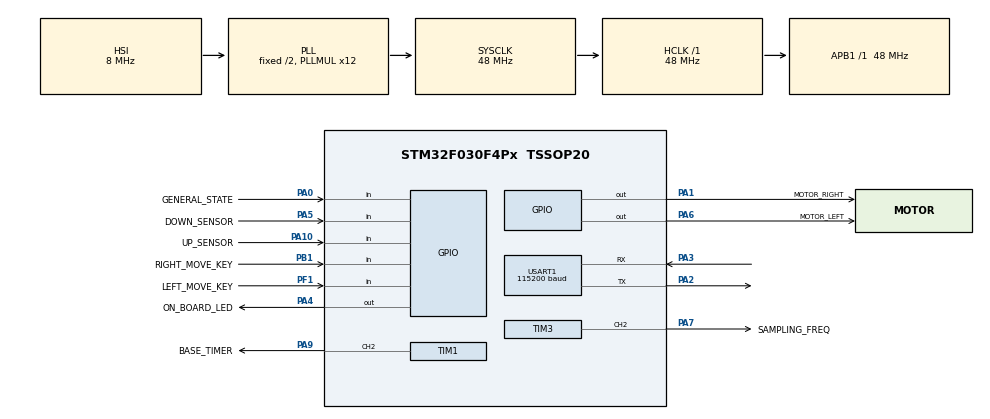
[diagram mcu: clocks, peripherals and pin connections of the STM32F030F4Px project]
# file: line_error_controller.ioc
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Mcu.Family=STM32F0
Mcu.Name=STM32F030F4Px
Mcu.Package=TSSOP20
NVIC.TIM1_BRK_UP_TRG_COM_IRQn=true\:0\:0\:false\:false\:true\:true\:true\:true
NVIC.TIM3_IRQn=true\:0\:0\:false\:false\:true\:true\:true\:true
PA0.GPIO_Label=GENERAL_STATE
PA0.GPIO_PuPd=GPIO_PULLDOWN
PA0.Signal=GPIO_Input
PA1.GPIO_Label=MOTOR_RIGHT
PA1.GPIO_PuPd=GPIO_PULLDOWN
PA1.Signal=GPIO_Output
PA10.GPIO_Label=UP_SENSOR
PA10.GPIO_PuPd=GPIO_PULLDOWN
PA10.Signal=GPIO_Input
PA2.Mode=Asynchronous
PA2.Signal=USART1_TX
PA3.Mode=Asynchronous
PA3.Signal=USART1_RX
PA4.GPIO_Label=ON_BOARD_LED
PA4.GPIO_PuPd=GPIO_PULLDOWN
PA4.Signal=GPIO_Output
PA5.GPIO_Label=DOWN_SENSOR
PA5.GPIO_PuPd=GPIO_PULLDOWN
PA5.Signal=GPIO_Input
PA6.GPIO_Label=MOTOR_LEFT
PA6.GPIO_PuPd=GPIO_PULLDOWN
PA6.Signal=GPIO_Output
PA7.GPIO_Label=SAMPLING_FREQ
PA7.Signal=S_TIM3_CH2
PA9.GPIO_Label=BASE_TIMER
PA9.Signal=S_TIM1_CH2
PB1.GPIO_Label=RIGHT_MOVE_KEY
PB1.GPIO_PuPd=GPIO_PULLDOWN
PB1.Signal=GPIO_Input
PF1-OSC_OUT.GPIO_Label=LEFT_MOVE_KEY
PF1-OSC_OUT.GPIO_PuPd=GPIO_PULLDOWN
PF1-OSC_OUT.Signal=GPIO_Input
ProjectManager.HeapSize=0x200
ProjectManager.StackSize=0x400
ProjectManager.TargetToolchain=STM32CubeIDE
RCC.AHBFreq_Value=48000000
RCC.APB1Freq_Value=48000000
RCC.APB1TimFreq_Value=48000000
RCC.HCLKFreq_Value=48000000
RCC.PLLMUL=RCC_PLL_MUL12
RCC.SYSCLKFreq_VALUE=48000000
RCC.SYSCLKSource=RCC_SYSCLKSOURCE_PLLCLK
SH.S_TIM1_CH2.0=TIM1_CH2,Output Compare2 CH2
SH.S_TIM3_CH2.0=TIM3_CH2,Output Compare2 CH2
TIM1.Channel-Output\ Compare2\ CH2=TIM_CHANNEL_2
TIM1.OCMode_2=TIM_OCMODE_TOGGLE
TIM1.Period=1000-1
TIM1.Prescaler=48000-1
TIM1.Pulse-Output\ Compare2\ CH2=1000-1
TIM1.TIM_MasterOutputTrigger=TIM_TRGO_RESET
TIM3.Channel-Output\ Compare2\ CH2=TIM_CHANNEL_2
TIM3.OCMode_2=TIM_OCMODE_TOGGLE
TIM3.Period=49
TIM3.Prescaler=48-1
TIM3.Pulse-Output\ Compare2\ CH2=49
USART1.BaudRate=115200
USART1.VirtualMode-Asynchronous=VM_ASYNC
VP_TIM1_VS_ClockSourceINT.Mode=Internal
VP_TIM3_VS_ClockSourceINT.Mode=Internal
board=custom

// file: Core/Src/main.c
/* USER CODE BEGIN Header */
/**
  ******************************************************************************
  * @file           : main.c
  * @brief          : Main program body
  ******************************************************************************
  * @attention
  *
  * Copyright (c) 2024 STMicroelectronics.
  * All rights reserved.
  *
  * This software is licensed under terms that can be found in the LICENSE file
  * in the root directory of this software component.
  * If no LICENSE file comes with this software, it is provided AS-IS.
  *
  ******************************************************************************
  */
/* USER CODE END Header */
#include "main.h"

/* USER CODE BEGIN Includes */
#include <stdlib.h>
#include <string.h>
#include <stdbool.h>
/* USER CODE END Includes */

/* USER CODE BEGIN PTD */

#define SAMPLING_ARRAY_LENGTH 2
#define MEAN_ARRAY_LENGTH 4
#define NO_SIGNAL_WATCH_TIME 40000 // 50 us sampling timer * SAMPLING_ARRAY_LENGTH = 10 sample per each ms, 4 s wait time = 40000
#define DEBOUNCE 200
#define ACCEPTABLE_ERROR_PERCENTAGE 50
#define COMAN_LENGHT_MIN 5000
#define COMAND_WAITING 5000

typedef enum {
    ERROR_NONE = 0,
    ERROR_UP_SENSOR,
    ERROR_DOWN_SENSOR,
} ErrorCode_t;

typedef struct {
    uint32_t error;
    bool sign; //down up difference is the smaller value
} Error;

void ErrorHandler(ErrorCode_t error);
/* USER CODE END PTD */

/* USER CODE BEGIN PD */

bool timer_1_flag = false;
bool timer_3_flag = false;

bool auto_flag = false;

ErrorCode_t error = ERROR_NONE;

bool down_preiod_posetive_flag = false;
bool up_preiod_posetive_flag = false;

bool left_key_length_posetive_flag = false;
bool right_key_length_posetive_flag = false;

bool down_lenght_posetive_flag = false;
bool up_lenght_posetive_flag = false;

bool ud_down_posetive_flag = false;
bool ud_up_posetive_flag = false;
bool du_down_posetive_flag = false;
bool du_up_posetive_flag = false;

bool left_move_key_effect_a_flag = false;
bool right_move_key_effect_a_flag = false;

bool control_command = false;
bool control_command_start = false;
bool control_command_countinue = false;
bool command_sign = false;
uint32_t command_lenght_right = 0;
uint32_t command_lenght_left = 0;
uint32_t command_lenght = 0;
uint32_t command_counter = 0;
uint32_t command_waiting_counter = 0;

uint8_t general_state_samples[SAMPLING_ARRAY_LENGTH] = {0};
uint8_t down_sensor_samples[SAMPLING_ARRAY_LENGTH] = {0};
uint8_t up_sensor_samples[SAMPLING_ARRAY_LENGTH] = {0};
uint8_t left_move_key_samples[SAMPLING_ARRAY_LENGTH] = {0};
uint8_t right_move_key_samples[SAMPLING_ARRAY_LENGTH] = {0};

uint8_t sampleIndex = 0;
uint8_t left_move_key_effect_a_counter = 0;
uint8_t right_move_key_effect_a_counter = 0;

uint32_t down_sensor_lenght_values[MEAN_ARRAY_LENGTH] = {0};
uint32_t up_sensor_lenght_values[MEAN_ARRAY_LENGTH] = {0};
uint32_t left_move_key_length_values[MEAN_ARRAY_LENGTH] = {0};
uint32_t right_move_key_length_values[MEAN_ARRAY_LENGTH] = {0};
uint32_t down_up_diff_values[MEAN_ARRAY_LENGTH] = {0};
uint32_t up_down_diff_values[MEAN_ARRAY_LENGTH] = {0};
uint32_t down_period_values[MEAN_ARRAY_LENGTH] = {0};
uint32_t up_period_values[MEAN_ARRAY_LENGTH] = {0};

uint32_t left_move_key_effect_error_a_values[MEAN_ARRAY_LENGTH] = {0};
uint32_t left_move_key_effect_error_b_values[MEAN_ARRAY_LENGTH] = {0};

uint32_t right_move_key_effect_error_a_values[MEAN_ARRAY_LENGTH] = {0};
uint32_t right_move_key_effect_error_b_values[MEAN_ARRAY_LENGTH] = {0};

uint8_t valueIndex = 0;

uint32_t down_sensor_lenght = 0;
uint32_t up_sensor_lenght = 0;

uint32_t left_key_lenght = 0;
uint32_t right_key_lenght = 0;

uint32_t down_sensor_period = 0;
uint32_t up_sensor_period = 0;

uint32_t down_up_diff = 0;
uint32_t up_down_diff = 0;

uint32_t up_length_watch_time = 0;
uint32_t down_length_watch_time = 0;

uint32_t left_move_key_debounce = 0;
uint32_t right_move_key_debounce = 0;
uint32_t general_state_debounce = 0;

Error left_key_error_b;
Error right_key_error_b;

Error manual_max_error;

uint32_t manual_priod = 0;
uint32_t manual_right_key_lenght = 0;
uint32_t manual_left_key_lenght = 0;
uint32_t manual_right_key_a = 0;
uint32_t manual_left_key_a = 0;

/* USER CODE END PD */

TIM_HandleTypeDef htim1;
TIM_HandleTypeDef htim3;

UART_HandleTypeDef huart1;

void SystemClock_Config(void);
static void MX_GPIO_Init(void);
static void MX_USART1_UART_Init(void);
static void MX_TIM1_Init(void);
static void MX_TIM3_Init(void);
/* USER CODE BEGIN PFP */
Error calculate_error(uint32_t *values_1, uint32_t *values_2);
Error calculate_error_partialy(uint32_t *values_1, uint32_t *values_2, uint8_t counter);
uint32_t check_b_a_error(Error error_a, Error error_b);
/* USER CODE END PFP */

/* USER CODE BEGIN 0 */
void HAL_TIM_PeriodElapsedCallback(TIM_HandleTypeDef *htim)
{

    if (htim->Instance == TIM1)
    {
    	timer_1_flag = true;

    }
    if (htim->Instance == TIM3)
    {
    	timer_3_flag = true;
    }

}

void transfer_data(void)
{
	HAL_GPIO_TogglePin(ON_BOARD_LED_GPIO_Port, ON_BOARD_LED_Pin);

	char buffer[150];
	memset(buffer, 0, sizeof(buffer));
	char num_str1[10], num_str2[10], num_str3[10], num_str4[10], num_str5[10], num_str6[10];

	itoa(auto_flag, num_str1, 10);  // Convert num1 to string
	itoa(up_period_values[MEAN_ARRAY_LENGTH -1], num_str2, 10);  // Convert num2 to string
	itoa(down_period_values[MEAN_ARRAY_LENGTH -1], num_str3, 10);
	itoa(up_down_diff_values[MEAN_ARRAY_LENGTH -1], num_str4,  10);
	itoa(down_up_diff_values[MEAN_ARRAY_LENGTH -1], num_str5, 10);
	itoa(error, num_str6, 10);

	strcpy(buffer, "SF: ");
	strcat(buffer, num_str1);
	strcat(buffer, ", UP: ");
	strcat(buffer, num_str2);
	strcat(buffer, ", DP: ");
	strcat(buffer, num_str3);
	strcat(buffer, "\r\n");

	strcat(buffer, "UPD: ");
	strcat(buffer, num_str4);
	strcat(buffer, ", DUP: ");
	strcat(buffer, num_str5);
	strcat(buffer, "\r\n");
	strcat(buffer, "E: ");
	strcat(buffer, num_str6);
	strcat(buffer, "\r\n");
	strcat(buffer, "\r\n");
	HAL_UART_Transmit(&huart1, (uint8_t *)buffer, strlen(buffer), HAL_MAX_DELAY);
	timer_1_flag = false;
}

void sampling_data(void)
{
	general_state_samples[sampleIndex] = HAL_GPIO_ReadPin(GENERAL_STATE_GPIO_Port, GENERAL_STATE_Pin);
	down_sensor_samples[sampleIndex] = HAL_GPIO_ReadPin(DOWN_SENSOR_GPIO_Port, DOWN_SENSOR_Pin);
	up_sensor_samples[sampleIndex] = HAL_GPIO_ReadPin(UP_SENSOR_GPIO_Port, UP_SENSOR_Pin);
	left_move_key_samples[sampleIndex]= HAL_GPIO_ReadPin(LEFT_MOVE_KEY_GPIO_Port, LEFT_MOVE_KEY_Pin);
	right_move_key_samples[sampleIndex]= HAL_GPIO_ReadPin(RIGHT_MOVE_KEY_GPIO_Port, RIGHT_MOVE_KEY_Pin);
	sampleIndex++;

	if (sampleIndex >= SAMPLING_ARRAY_LENGTH)
		{
			uint8_t general_state_one_counts = check_value_counts(general_state_samples, 1);
			uint8_t down_sensor_one_counts = check_value_counts(down_sensor_samples, 1);
			uint8_t up_sensor_one_counts = check_value_counts(up_sensor_samples, 1);
			uint8_t left_key_one_counts = check_value_counts(left_move_key_samples, 1);
			uint8_t right_key_one_counts = check_value_counts(right_move_key_samples, 1);

			check_general_state(general_state_one_counts);
			check_signal_length_down(down_sensor_one_counts, &down_sensor_lenght);
			check_signal_length_up(up_sensor_one_counts, &up_sensor_lenght);

			if (auto_flag == false)
			{
				check_signal_length_left_key(left_key_one_counts, &left_key_lenght);
				check_signal_length_right_key(right_key_one_counts, &right_key_lenght);

				if (left_move_key_effect_a_flag)
					{
						left_move_key_effect_a_counter++;
						if (left_move_key_effect_a_counter >= MEAN_ARRAY_LENGTH)
						{
							left_move_key_effect_a_flag = false;
							Error error = calculate_error(down_up_diff_values, up_down_diff_values);
							uint32_t b_a_error = check_b_a_error(error, left_key_error_b);
							shift_and_insert_values(left_move_key_effect_error_a_values ,b_a_error);
							left_move_key_effect_a_counter = 0;
						}
					}

				if (right_move_key_effect_a_flag)
					{
						right_move_key_effect_a_counter++;
						if (right_move_key_effect_a_counter >= MEAN_ARRAY_LENGTH)
						{
							right_move_key_effect_a_flag = false;
							Error error = calculate_error(down_up_diff_values, up_down_diff_values);
							uint32_t b_a_error = check_b_a_error(error, right_key_error_b);
							shift_and_insert_values(right_move_key_effect_error_a_values ,b_a_error);
							right_move_key_effect_a_counter = 0;
						}
					}
			}

			check_down_periods(down_sensor_one_counts, &down_sensor_period);
			check_up_periods(up_sensor_one_counts, &up_sensor_period);

			check_down_up_diff(down_sensor_one_counts, up_sensor_one_counts, &down_up_diff);
			check_up_down_diff(down_sensor_one_counts, up_sensor_one_counts, &up_down_diff);

			if (auto_flag)
			{
				if ((control_command_countinue) && (control_command)) command_counter++;
				if ((control_command) && (control_command_start == false) && (control_command_countinue == false)) command_waiting_counter++;
			}

			sampleIndex = 0;

	}
		timer_3_flag = false;

}

void check_down_up_diff(uint8_t down_counts, uint8_t up_counts, uint32_t *diff)
{
	if (down_counts > (SAMPLING_ARRAY_LENGTH / 2))
	{
		if(du_down_posetive_flag == false)
		{
			*diff = 0;
			du_down_posetive_flag = true;
		}

	}
	else
	{
		du_down_posetive_flag = false;
	}
	if (up_counts > (SAMPLING_ARRAY_LENGTH / 2))
	{
		if (du_up_posetive_flag == false)
		{
			shift_and_insert_values(down_up_diff_values ,*diff);
			du_up_posetive_flag = true;
		}

	}
	else
	{
		du_up_posetive_flag = false;
	}

	*diff = *diff + 1;

}

void check_up_down_diff(uint8_t down_counts, uint8_t up_counts, uint32_t *diff)
{
	if (up_counts > (SAMPLING_ARRAY_LENGTH / 2))
	{
		if(ud_up_posetive_flag == false)
		{
			*diff = 0;
			ud_up_posetive_flag = true;
		}

	}
	else
	{
		ud_up_posetive_flag = false;
	}
	if (down_counts > (SAMPLING_ARRAY_LENGTH / 2))
	{
		if (ud_down_posetive_flag == false)
		{
			shift_and_insert_values(up_down_diff_values ,*diff);
			ud_down_posetive_flag = true;
		}

	}
	else
	{
		ud_down_posetive_flag = false;
	}

	*diff = *diff + 1;

}

void check_down_periods(uint8_t counts, uint32_t *period)
{
	if (counts > (SAMPLING_ARRAY_LENGTH / 2))
	{
		if(down_preiod_posetive_flag == false)
		{
			// save period
			shift_and_insert_values(down_period_values ,*period);
			*period = 0;
			down_preiod_posetive_flag = true;
		}

	}
	else
	{
		if (down_preiod_posetive_flag)
		{
			down_preiod_posetive_flag = false;
		}

	}

	*period = *period + 1;

}

void check_up_periods(uint8_t counts, uint32_t *period)
{
	if (counts > (SAMPLING_ARRAY_LENGTH / 2))
	{
		if(up_preiod_posetive_flag == false)
		{
			// save period
			shift_and_insert_values(up_period_values ,*period);
			*period = 0;
			up_preiod_posetive_flag = true;
		}

	}
	else
	{
		if (up_preiod_posetive_flag)
		{
			up_preiod_posetive_flag = false;
		}

	}

	*period = *period + 1;

}

void shift_and_insert_values(uint32_t *values, uint32_t new_value) {

    for (int i = 0; i < MEAN_ARRAY_LENGTH - 1; i++) {
    	values[i] = values[i + 1];
    }

    values[MEAN_ARRAY_LENGTH - 1] = new_value;
}

void check_signal_length_up(uint8_t counts, uint32_t *length)
{
	if (counts > (SAMPLING_ARRAY_LENGTH / 2))
	{
		*length = *length + 1;
		if (up_lenght_posetive_flag == false)
		{
			if (error == ERROR_UP_SENSOR) error = ERROR_NONE;
			up_lenght_posetive_flag = true;
			up_length_watch_time = 0;
		}
	}
	else
	{
		if (up_lenght_posetive_flag)
		{
			shift_and_insert_values(up_sensor_lenght_values ,*length);
			*length = 0;
			up_lenght_posetive_flag = false;
		}
		else
		{
			up_length_watch_time++;
			if (up_length_watch_time >= NO_SIGNAL_WATCH_TIME)
			{
				shift_and_insert_values(up_sensor_lenght_values ,0);
				up_length_watch_time = 0;
				error = ERROR_UP_SENSOR;
			}

		}
	}

}

void check_signal_length_down(uint8_t counts, uint32_t *length)
{
	if (counts > (SAMPLING_ARRAY_LENGTH / 2))
	{
		*length = *length + 1;
		if (down_lenght_posetive_flag == false)
		{
			if (error == ERROR_DOWN_SENSOR) error = ERROR_NONE;
			down_lenght_posetive_flag = true;
			down_length_watch_time = 0;
		}
	}
	else
	{
		if (down_lenght_posetive_flag)
		{
			shift_and_insert_values(down_sensor_lenght_values ,*length);
			*length = 0;
			down_lenght_posetive_flag = false;
		}
		else
		{
			down_length_watch_time++;
			if (down_length_watch_time >= NO_SIGNAL_WATCH_TIME)
			{
				shift_and_insert_values(down_sensor_lenght_values ,0);
				error = ERROR_DOWN_SENSOR;
				down_length_watch_time = 0;
			}
		}
	}

}

void check_signal_length_left_key(uint8_t counts, uint32_t *length)
{

	if ((counts > (SAMPLING_ARRAY_LENGTH / 2)) && (left_move_key_debounce >= DEBOUNCE))
	{
		*length = *length + 1;
		if (left_key_length_posetive_flag == false)
		{
			left_key_error_b = calculate_error(down_up_diff_values, up_down_diff_values);
			shift_and_insert_values(left_move_key_effect_error_b_values ,left_key_error_b.error);
			left_key_length_posetive_flag = true;
			if ((left_move_key_effect_a_flag) && (left_move_key_effect_a_counter < MEAN_ARRAY_LENGTH))
			{
				Error error = calculate_error_partialy(down_up_diff_values, up_down_diff_values, left_move_key_effect_a_counter);
				uint32_t b_a_error = check_b_a_error(error, left_key_error_b);
				shift_and_insert_values(left_move_key_effect_error_a_values ,b_a_error);
			}
			left_move_key_effect_a_flag = false;
			left_move_key_effect_a_counter = 0;
			left_move_key_debounce = 0;
		}
	}
	else
	{
		if ((left_key_length_posetive_flag) && (*length > DEBOUNCE))
		{
			shift_and_insert_values(left_move_key_length_values ,*length);
			*length = 0;
			left_key_length_posetive_flag = false;
			left_move_key_effect_a_flag = true;
		}
		left_move_key_debounce++;
		if (left_move_key_debounce > 2*DEBOUNCE) left_move_key_debounce = 2*DEBOUNCE;
	}

}

void check_signal_length_right_key(uint8_t counts, uint32_t *length)
{
	if (counts > (SAMPLING_ARRAY_LENGTH / 2))
	{
		*length = *length + 1;
		if ((right_key_length_posetive_flag == false) && (right_move_key_debounce >= DEBOUNCE))
		{
			right_key_error_b = calculate_error(down_up_diff_values, up_down_diff_values);
			shift_and_insert_values(right_move_key_effect_error_b_values ,right_key_error_b.error);
			right_key_length_posetive_flag = true;
			if ((right_move_key_effect_a_flag) && (right_move_key_effect_a_counter < MEAN_ARRAY_LENGTH))
			{
				Error error = calculate_error_partialy(down_up_diff_values, up_down_diff_values, right_move_key_effect_a_counter);
				uint32_t b_a_error = check_b_a_error(error, right_key_error_b);
				shift_and_insert_values(right_move_key_effect_error_a_values ,b_a_error);
			}
			right_move_key_effect_a_flag = false;
			right_move_key_effect_a_counter = 0;
			right_move_key_debounce = 0;
		}
	}
	else
	{
		if ((right_key_length_posetive_flag) && (*length > DEBOUNCE))
		{
			shift_and_insert_values(right_move_key_length_values ,*length);
			*length = 0;
			right_key_length_posetive_flag = false;
			right_move_key_effect_a_flag = true;
		}
		right_move_key_debounce++;
		if (right_move_key_debounce > 2*DEBOUNCE) right_move_key_debounce = 2*DEBOUNCE;
	}

}

uint8_t check_value_counts(uint8_t *samples, uint8_t value)
{
	uint8_t counts = 0;
	for (uint8_t i = 0; i< SAMPLING_ARRAY_LENGTH; i++)
	{
		if (samples[i] == value)
		{
			counts++;
		}
	}
	return counts;
}

Error calculate_error(uint32_t *values_1, uint32_t *values_2)
{
	Error error;
	uint32_t value_1_mean = calculate_mean(values_1);
	uint32_t value_2_mean = calculate_mean(values_2);

	if (value_1_mean < value_2_mean)
		{
			error.error = value_1_mean;
			error.sign = true; // down up difference is the smaller value
		}
	else
		{
			error.error = value_2_mean;
			error.sign = false;
		}
	return error;
}

uint32_t calculate_mean(uint32_t *values)
{
    uint32_t sum = 0;
    uint8_t num = 0;
    for (uint8_t i = 0; i < MEAN_ARRAY_LENGTH; i++) {
        if (values[i] > 0)
        {
        	sum += values[i];
        	num +=1;
        }
    }
    if (num > 0)
    {
    	return sum / num;
    }
    else
    {
    	return 0;
    }

}

Error calculate_error_partialy(uint32_t *values_1, uint32_t *values_2, uint8_t counter)
{
	Error error;
	uint32_t value_1_mean = calculate_mean_partialy(values_1, counter);
	uint32_t value_2_mean = calculate_mean_partialy(values_2, counter);

	if (value_1_mean < value_2_mean)
		{
			error.error = value_1_mean;
			error.sign = true;
		}
	else
		{
			error.error = value_2_mean;
			error.sign = false;
		}
	return error;
}

uint32_t calculate_mean_partialy(uint32_t *values, uint8_t counter)
{
    uint32_t sum = 0;
    uint8_t num = 0;
    for (uint8_t i = MEAN_ARRAY_LENGTH -1; i >= (MEAN_ARRAY_LENGTH - counter); i--) {
        if (values[i] > 0)
        {
        	sum += values[i];
        	num +=1;
        }
    }

    if (num > 0)
    {
    	return sum / num;
    }
    else
    {
    	return 0;
    }

}

uint32_t check_b_a_error(Error error_a, Error error_b)
{
	if (error_b.sign)
	{
		if (error_a.sign)
		{
			if (error_a.error > error_b.error) return error_a.error - error_b.error;
			else return error_b.error - error_a.error;
		}
		else return error_b.error + error_a.error;

	}
	else
	{
			if (error_a.sign) return error_b.error + error_a.error;
			else
			{
				if (error_a.error > error_b.error) return error_a.error - error_b.error;
				else return error_b.error - error_a.error;

			}

	}

}

void check_general_state(uint8_t counts)
{
	if (counts > (SAMPLING_ARRAY_LENGTH / 2))
	{
		if ((auto_flag == false) && (general_state_debounce > DEBOUNCE))
		{
			auto_flag = true;
			manual_max_error = calculate_error(down_up_diff_values, up_down_diff_values);
			manual_priod = calculate_mean(down_period_values);
			manual_right_key_lenght = calculate_mean(right_move_key_length_values);
			manual_left_key_lenght = calculate_mean(left_move_key_length_values);
			manual_right_key_a = calculate_mean(right_move_key_effect_error_a_values);
			manual_left_key_a = calculate_mean(left_move_key_effect_error_a_values);
			general_state_debounce = 0;

		}
		general_state_debounce++;
		if (general_state_debounce > 2*DEBOUNCE) general_state_debounce = 2*DEBOUNCE;
	}
	else
	{
		if((auto_flag) && (general_state_debounce > DEBOUNCE))
		{
			general_state_debounce = 0;
			auto_flag = false;
			memset(right_move_key_length_values, 0, sizeof(right_move_key_length_values));
			memset(left_move_key_length_values, 0, sizeof(left_move_key_length_values));
			memset(right_move_key_effect_error_a_values, 0, sizeof(right_move_key_effect_error_a_values));
			memset(left_move_key_effect_error_a_values, 0, sizeof(left_move_key_effect_error_a_values));
		}
		general_state_debounce++;
		if (general_state_debounce > 2*DEBOUNCE) general_state_debounce = 2*DEBOUNCE;
	}

}

void motor_control(void)
{
	if (control_command)
	{
		if(control_command_start)
		{
			// calculate the length of the command signal
			if (command_sign)
			{
				HAL_GPIO_WritePin(MOTOR_RIGHT_GPIO_Port, MOTOR_RIGHT_Pin, GPIO_PIN_SET);
				HAL_GPIO_WritePin(MOTOR_LEFT_GPIO_Port, MOTOR_LEFT_Pin, GPIO_PIN_RESET);
				if (command_lenght_right > COMAN_LENGHT_MIN) command_lenght = command_lenght_right;
				else command_lenght = COMAN_LENGHT_MIN;
			}
			else
			{
				HAL_GPIO_WritePin(MOTOR_LEFT_GPIO_Port, MOTOR_LEFT_Pin, GPIO_PIN_SET);
				HAL_GPIO_WritePin(MOTOR_RIGHT_GPIO_Port, MOTOR_RIGHT_Pin, GPIO_PIN_RESET);
				if (command_lenght_left > COMAN_LENGHT_MIN) command_lenght = command_lenght_left;
				else command_lenght = COMAN_LENGHT_MIN;
			}
			control_command_countinue = true;
			control_command_start = false;
			command_counter = 0;
		}
		else if (control_command_countinue)
		{
			if (command_counter >= command_lenght)
			{
				HAL_GPIO_WritePin(MOTOR_LEFT_GPIO_Port, MOTOR_LEFT_Pin, GPIO_PIN_RESET);
				HAL_GPIO_WritePin(MOTOR_RIGHT_GPIO_Port, MOTOR_RIGHT_Pin, GPIO_PIN_RESET);
				control_command_countinue = false;
				command_waiting_counter = 0;
			}

		}
		else
		{
			if (command_waiting_counter >= COMAND_WAITING) control_command = false;
		}

	}
	else
	{
		Error error = calculate_error(down_up_diff_values, up_down_diff_values);
		uint32_t period = calculate_mean(down_period_values);

		if ((period != 0)&&(manual_priod != 0))
		{
			float acceptable_error = ((float)manual_max_error.error / manual_priod)* ((float)ACCEPTABLE_ERROR_PERCENTAGE / 100)  * period;

			if (error.error > acceptable_error)
			{

				float command_lenght_l = (float)(error.error * manual_left_key_lenght) / manual_left_key_a;
				float command_lenght_r = (float)(error.error * manual_right_key_lenght) / manual_right_key_a;

				command_lenght_left = (int)(command_lenght_l * period / manual_priod + 0.5);
				command_lenght_right = (int)(command_lenght_r * period /manual_priod + 0.5);

				command_sign = error.sign;
				control_command = true;
				control_command_start = true;
			}
		}

	}

}

/* USER CODE END 0 */

int main(void)
{

  /* MCU Configuration--------------------------------------------------------*/

  /* Reset of all peripherals, Initializes the Flash interface and the Systick. */
  HAL_Init();

  /* Configure the system clock */
  SystemClock_Config();

  /* Initialize all configured peripherals */
  MX_GPIO_Init();
  MX_USART1_UART_Init();
  MX_TIM1_Init();
  MX_TIM3_Init();
  /* USER CODE BEGIN 2 */
  HAL_GPIO_WritePin(ON_BOARD_LED_GPIO_Port, ON_BOARD_LED_Pin, GPIO_PIN_SET);
  HAL_TIM_Base_Start_IT(&htim1);
  HAL_TIM_Base_Start_IT(&htim3);
  HAL_TIM_OC_Start(&htim1, TIM_CHANNEL_2);
  HAL_TIM_OC_Start(&htim3, TIM_CHANNEL_2);
  /* USER CODE END 2 */

  /* Infinite loop */
  while (1)
  {

    /* USER CODE BEGIN 3 */
	if (timer_1_flag)
	{
		transfer_data();
	}

	if (timer_3_flag)
	{
        sampling_data();
    }

	if ((auto_flag) && (error == ERROR_NONE))
	{
		motor_control();
	}
	else
	{
		HAL_GPIO_WritePin(MOTOR_RIGHT_GPIO_Port, MOTOR_RIGHT_Pin, GPIO_PIN_RESET);
		HAL_GPIO_WritePin(MOTOR_LEFT_GPIO_Port, MOTOR_LEFT_Pin, GPIO_PIN_RESET);
	}
  }
  /* USER CODE END 3 */
}

void SystemClock_Config(void)
{
  RCC_OscInitTypeDef RCC_OscInitStruct = {0};
  RCC_ClkInitTypeDef RCC_ClkInitStruct = {0};
  RCC_PeriphCLKInitTypeDef PeriphClkInit = {0};

  /** Initializes the RCC Oscillators according to the specified parameters
  * in the RCC_OscInitTypeDef structure.
  */
  RCC_OscInitStruct.OscillatorType = RCC_OSCILLATORTYPE_HSI;
  RCC_OscInitStruct.HSIState = RCC_HSI_ON;
  RCC_OscInitStruct.HSICalibrationValue = RCC_HSICALIBRATION_DEFAULT;
  RCC_OscInitStruct.PLL.PLLState = RCC_PLL_ON;
  RCC_OscInitStruct.PLL.PLLSource = RCC_PLLSOURCE_HSI;
  RCC_OscInitStruct.PLL.PLLMUL = RCC_PLL_MUL12;
  RCC_OscInitStruct.PLL.PREDIV = RCC_PREDIV_DIV1;
  if (HAL_RCC_OscConfig(&RCC_OscInitStruct) != HAL_OK)
  {
    Error_Handler();
  }

  /** Initializes the CPU, AHB and APB buses clocks
  */
  RCC_ClkInitStruct.ClockType = RCC_CLOCKTYPE_HCLK|RCC_CLOCKTYPE_SYSCLK
                              |RCC_CLOCKTYPE_PCLK1;
  RCC_ClkInitStruct.SYSCLKSource = RCC_SYSCLKSOURCE_PLLCLK;
  RCC_ClkInitStruct.AHBCLKDivider = RCC_SYSCLK_DIV1;
  RCC_ClkInitStruct.APB1CLKDivider = RCC_HCLK_DIV1;

  if (HAL_RCC_ClockConfig(&RCC_ClkInitStruct, FLASH_LATENCY_1) != HAL_OK)
  {
    Error_Handler();
  }
  PeriphClkInit.PeriphClockSelection = RCC_PERIPHCLK_USART1;
  PeriphClkInit.Usart1ClockSelection = RCC_USART1CLKSOURCE_PCLK1;
  if (HAL_RCCEx_PeriphCLKConfig(&PeriphClkInit) != HAL_OK)
  {
    Error_Handler();
  }
}

static void MX_TIM1_Init(void)
{

  TIM_ClockConfigTypeDef sClockSourceConfig = {0};
  TIM_MasterConfigTypeDef sMasterConfig = {0};
  TIM_OC_InitTypeDef sConfigOC = {0};
  TIM_BreakDeadTimeConfigTypeDef sBreakDeadTimeConfig = {0};

  htim1.Instance = TIM1;
  htim1.Init.Prescaler = 48000-1;
  htim1.Init.CounterMode = TIM_COUNTERMODE_UP;
  htim1.Init.Period = 1000-1;
  htim1.Init.ClockDivision = TIM_CLOCKDIVISION_DIV1;
  htim1.Init.RepetitionCounter = 0;
  htim1.Init.AutoReloadPreload = TIM_AUTORELOAD_PRELOAD_DISABLE;
  if (HAL_TIM_Base_Init(&htim1) != HAL_OK)
  {
    Error_Handler();
  }
  sClockSourceConfig.ClockSource = TIM_CLOCKSOURCE_INTERNAL;
  if (HAL_TIM_ConfigClockSource(&htim1, &sClockSourceConfig) != HAL_OK)
  {
    Error_Handler();
  }
  if (HAL_TIM_OC_Init(&htim1) != HAL_OK)
  {
    Error_Handler();
  }
  sMasterConfig.MasterOutputTrigger = TIM_TRGO_RESET;
  sMasterConfig.MasterSlaveMode = TIM_MASTERSLAVEMODE_DISABLE;
  if (HAL_TIMEx_MasterConfigSynchronization(&htim1, &sMasterConfig) != HAL_OK)
  {
    Error_Handler();
  }
  sConfigOC.OCMode = TIM_OCMODE_TOGGLE;
  sConfigOC.Pulse = 1000-1;
  sConfigOC.OCPolarity = TIM_OCPOLARITY_HIGH;
  sConfigOC.OCNPolarity = TIM_OCNPOLARITY_HIGH;
  sConfigOC.OCFastMode = TIM_OCFAST_DISABLE;
  sConfigOC.OCIdleState = TIM_OCIDLESTATE_RESET;
  sConfigOC.OCNIdleState = TIM_OCNIDLESTATE_RESET;
  if (HAL_TIM_OC_ConfigChannel(&htim1, &sConfigOC, TIM_CHANNEL_2) != HAL_OK)
  {
    Error_Handler();
  }
  sBreakDeadTimeConfig.OffStateRunMode = TIM_OSSR_DISABLE;
  sBreakDeadTimeConfig.OffStateIDLEMode = TIM_OSSI_DISABLE;
  sBreakDeadTimeConfig.LockLevel = TIM_LOCKLEVEL_OFF;
  sBreakDeadTimeConfig.DeadTime = 0;
  sBreakDeadTimeConfig.BreakState = TIM_BREAK_DISABLE;
  sBreakDeadTimeConfig.BreakPolarity = TIM_BREAKPOLARITY_HIGH;
  sBreakDeadTimeConfig.AutomaticOutput = TIM_AUTOMATICOUTPUT_DISABLE;
  if (HAL_TIMEx_ConfigBreakDeadTime(&htim1, &sBreakDeadTimeConfig) != HAL_OK)
  {
    Error_Handler();
  }
  HAL_TIM_MspPostInit(&htim1);

}

static void MX_TIM3_Init(void)
{

  TIM_ClockConfigTypeDef sClockSourceConfig = {0};
  TIM_MasterConfigTypeDef sMasterConfig = {0};
  TIM_OC_InitTypeDef sConfigOC = {0};

  htim3.Instance = TIM3;
  htim3.Init.Prescaler = 48-1;
  htim3.Init.CounterMode = TIM_COUNTERMODE_UP;
  htim3.Init.Period = 49;
  htim3.Init.ClockDivision = TIM_CLOCKDIVISION_DIV1;
  htim3.Init.AutoReloadPreload = TIM_AUTORELOAD_PRELOAD_DISABLE;
  if (HAL_TIM_Base_Init(&htim3) != HAL_OK)
  {
    Error_Handler();
  }
  sClockSourceConfig.ClockSource = TIM_CLOCKSOURCE_INTERNAL;
  if (HAL_TIM_ConfigClockSource(&htim3, &sClockSourceConfig) != HAL_OK)
  {
    Error_Handler();
  }
  if (HAL_TIM_OC_Init(&htim3) != HAL_OK)
  {
    Error_Handler();
  }
  sMasterConfig.MasterOutputTrigger = TIM_TRGO_RESET;
  sMasterConfig.MasterSlaveMode = TIM_MASTERSLAVEMODE_DISABLE;
  if (HAL_TIMEx_MasterConfigSynchronization(&htim3, &sMasterConfig) != HAL_OK)
  {
    Error_Handler();
  }
  sConfigOC.OCMode = TIM_OCMODE_TOGGLE;
  sConfigOC.Pulse = 49;
  sConfigOC.OCPolarity = TIM_OCPOLARITY_HIGH;
  sConfigOC.OCFastMode = TIM_OCFAST_DISABLE;
  if (HAL_TIM_OC_ConfigChannel(&htim3, &sConfigOC, TIM_CHANNEL_2) != HAL_OK)
  {
    Error_Handler();
  }
  HAL_TIM_MspPostInit(&htim3);

}

static void MX_USART1_UART_Init(void)
{

  huart1.Instance = USART1;
  huart1.Init.BaudRate = 115200;
  huart1.Init.WordLength = UART_WORDLENGTH_8B;
  huart1.Init.StopBits = UART_STOPBITS_1;
  huart1.Init.Parity = UART_PARITY_NONE;
  huart1.Init.Mode = UART_MODE_TX_RX;
  huart1.Init.HwFlowCtl = UART_HWCONTROL_NONE;
  huart1.Init.OverSampling = UART_OVERSAMPLING_16;
  huart1.Init.OneBitSampling = UART_ONE_BIT_SAMPLE_DISABLE;
  huart1.AdvancedInit.AdvFeatureInit = UART_ADVFEATURE_NO_INIT;
  if (HAL_UART_Init(&huart1) != HAL_OK)
  {
    Error_Handler();
  }

}

static void MX_GPIO_Init(void)
{
  GPIO_InitTypeDef GPIO_InitStruct = {0};

  /* GPIO Ports Clock Enable */
  __HAL_RCC_GPIOF_CLK_ENABLE();
  __HAL_RCC_GPIOA_CLK_ENABLE();
  __HAL_RCC_GPIOB_CLK_ENABLE();

  /*Configure GPIO pin Output Level */
  HAL_GPIO_WritePin(GPIOA, MOTOR_RIGHT_Pin|ON_BOARD_LED_Pin|MOTOR_LEFT_Pin, GPIO_PIN_RESET);

  /*Configure GPIO pin : LEFT_MOVE_KEY_Pin */
  GPIO_InitStruct.Pin = LEFT_MOVE_KEY_Pin;
  GPIO_InitStruct.Mode = GPIO_MODE_INPUT;
  GPIO_InitStruct.Pull = GPIO_PULLDOWN;
  HAL_GPIO_Init(LEFT_MOVE_KEY_GPIO_Port, &GPIO_InitStruct);

  /*Configure GPIO pins : GENERAL_STATE_Pin DOWN_SENSOR_Pin UP_SENSOR_Pin */
  GPIO_InitStruct.Pin = GENERAL_STATE_Pin|DOWN_SENSOR_Pin|UP_SENSOR_Pin;
  GPIO_InitStruct.Mode = GPIO_MODE_INPUT;
  GPIO_InitStruct.Pull = GPIO_PULLDOWN;
  HAL_GPIO_Init(GPIOA, &GPIO_InitStruct);

  /*Configure GPIO pins : MOTOR_RIGHT_Pin ON_BOARD_LED_Pin MOTOR_LEFT_Pin */
  GPIO_InitStruct.Pin = MOTOR_RIGHT_Pin|ON_BOARD_LED_Pin|MOTOR_LEFT_Pin;
  GPIO_InitStruct.Mode = GPIO_MODE_OUTPUT_PP;
  GPIO_InitStruct.Pull = GPIO_PULLDOWN;
  GPIO_InitStruct.Speed = GPIO_SPEED_FREQ_LOW;
  HAL_GPIO_Init(GPIOA, &GPIO_InitStruct);

  /*Configure GPIO pin : RIGHT_MOVE_KEY_Pin */
  GPIO_InitStruct.Pin = RIGHT_MOVE_KEY_Pin;
  GPIO_InitStruct.Mode = GPIO_MODE_INPUT;
  GPIO_InitStruct.Pull = GPIO_PULLDOWN;
  HAL_GPIO_Init(RIGHT_MOVE_KEY_GPIO_Port, &GPIO_InitStruct);

}

void Error_Handler(void)
{
  __disable_irq();
  while (1)
  {
  }
}
